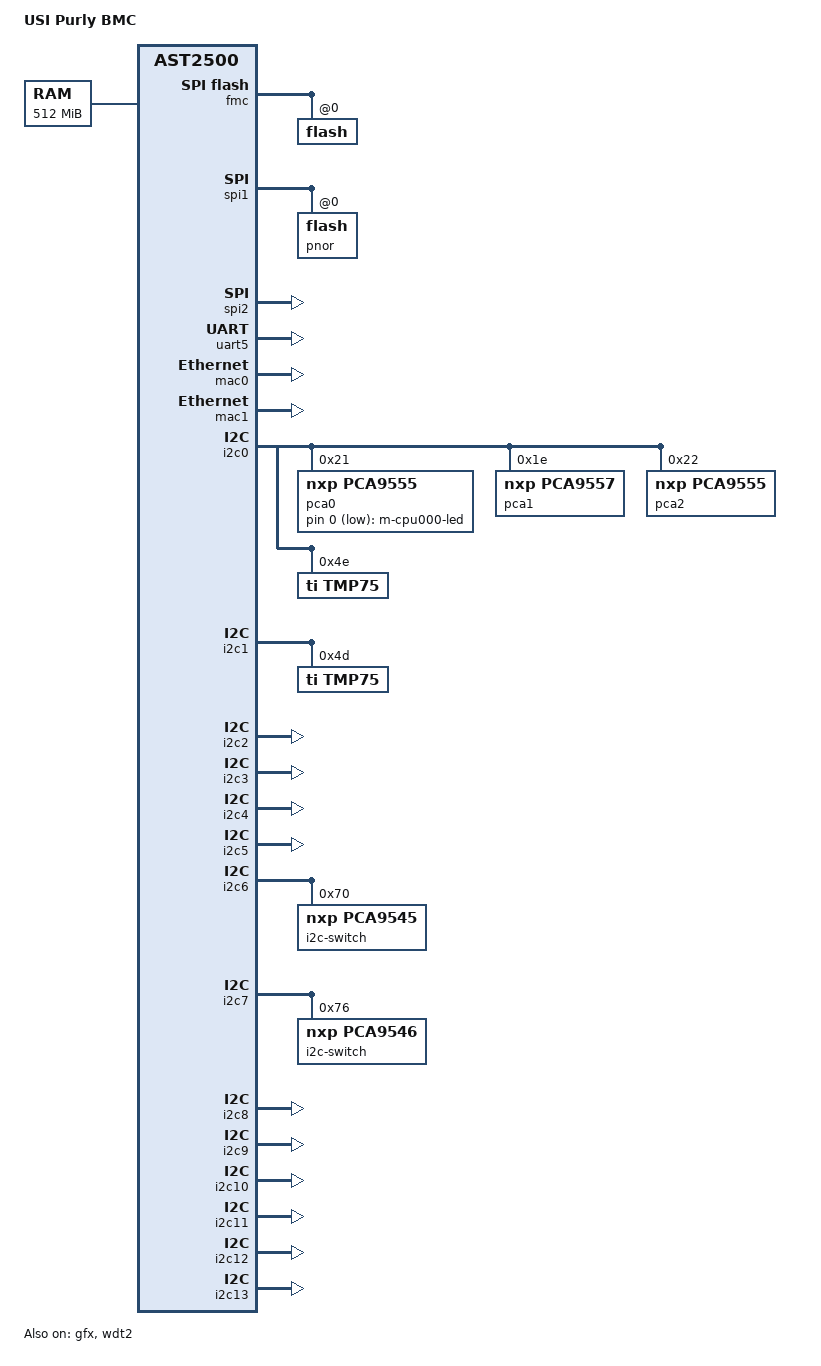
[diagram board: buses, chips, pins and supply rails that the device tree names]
/dts-v1/;

#include "aspeed-g5.dtsi"
#include <dt-bindings/gpio/aspeed-gpio.h>

/ {
	model = "USI Purly BMC";
	compatible = "usi,purly-bmc", "aspeed,ast2500";

	chosen {
		stdout-path = &uart5;
		bootargs = "console=ttyS4,115200 earlyprintk";
	};

	memory {
		reg = <0x80000000 0x20000000>;
	};
	
	leds {
		compatible = "gpio-leds";

		m-cpu000-led {
			gpios = <&pca0 0 GPIO_ACTIVE_LOW>;
			default-state = "off";
		};

		
	};	


};

&fmc {
	status = "okay";
	flash@0 {
		status = "okay";
		m25p,fast-read;
#include "openbmc-flash-layout.dtsi"
	};
};

&spi1 {
	status = "okay";
	pinctrl-names = "default";
	pinctrl-0 = <&pinctrl_spi1_default>;

	flash@0 {
		status = "okay";
		label = "pnor";
		m25p,fast-read;
	};
};

&spi2 {
	status = "okay";
};

&uart5 {
	status = "okay";
};

&mac0 {
	status = "okay";

	pinctrl-names = "default";
	pinctrl-0 = <&pinctrl_rgmii1_default &pinctrl_mdio1_default>;
	use-ncsi;
};

&mac1 {
	status = "okay";

	pinctrl-names = "default";
	pinctrl-0 = <&pinctrl_rgmii2_default &pinctrl_mdio2_default>;
	use-ncsi;
};

&i2c0 {
	status = "okay";

	pca0: pca9555@21 {
		compatible = "nxp,pca9555";
		gpio-controller;
		#gpio-cells = <2>;
		reg = <0x21>;
	};
	pca1: pca9557@1e {
		compatible = "nxp,pca9557";
		gpio-controller;
		#gpio-cells = <2>;
		reg = <0x1e>;
	};
	pca2: pca9555@22 {
		compatible = "nxp,pca9555";
		gpio-controller;
		#gpio-cells = <2>;
		reg = <0x22>;
	};
	tmp75@4e {
		compatible = "ti,tmp75";
		reg = <0x4e>;
	};
};

&i2c1 {
	status = "okay";

	tmp75@4d {
		compatible = "ti,tmp75";
		reg = <0x4d>;
	};

};

&i2c2 {
	status = "okay";

};

&i2c3 {
	status = "okay";

};

&i2c4 {
	status = "okay";

};

&i2c5 {
	status = "okay";

};

&i2c6 {
	status = "okay";

	i2c-switch@70 {
		compatible = "nxp,pca9545";
		reg = <0x70>;
		i2c-mux-idle-disconnect = "true";

	};
};

&i2c7 {
	status = "okay";

	i2c-switch@76 {
		compatible = "nxp,pca9546";
		reg = <0x76>;
		i2c-mux-idle-disconnect = "true";

	};

};

&i2c8 {
	status = "okay";

};

&i2c9 {
	status = "okay";

};

&i2c10 {
	status = "okay";

};

&i2c11 {
	status = "okay";

};

&i2c12 {
	status = "okay";

};

&i2c13 {
	status = "okay";

};


&gfx {
	status = "okay";
};

&pinctrl {
	aspeed,external-nodes = <&gfx &lhc>;
};

&wdt2 {
	status = "okay";
};
